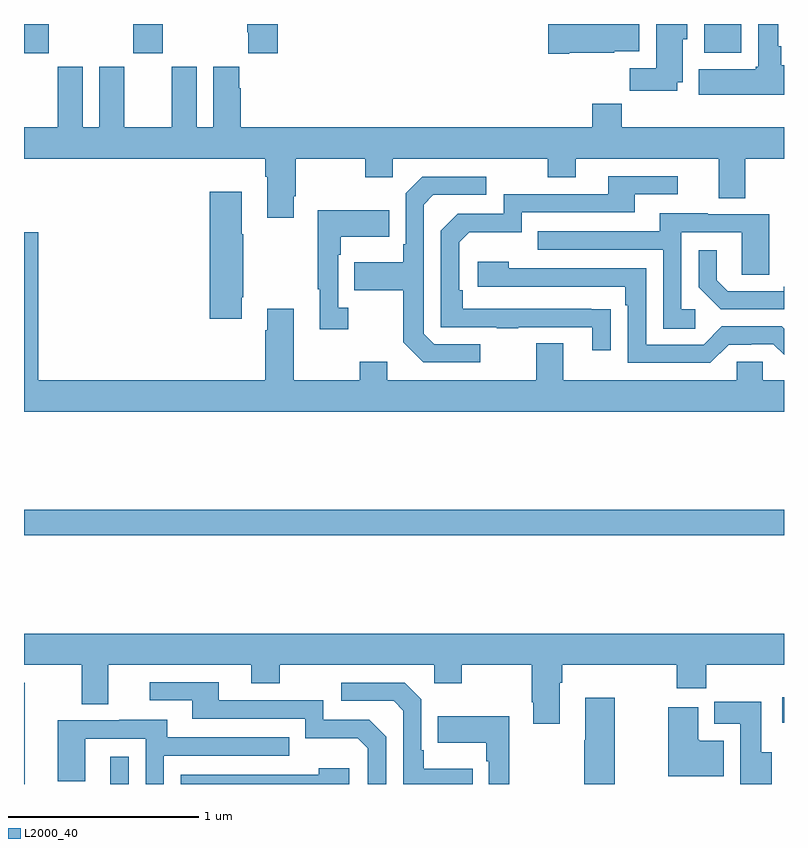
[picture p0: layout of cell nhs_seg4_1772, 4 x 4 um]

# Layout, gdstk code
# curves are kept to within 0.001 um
import gdstk
lib = gdstk.Library(unit=1e-6, precision=1e-09)
def R(c, l, rs):  # rectangles x0, y0, x1, y1
    for r in rs: c.add(gdstk.rectangle(r[:2], r[2:], *l))
def P(c, l, *ps):  # polygons
    for p in ps: c.add(gdstk.Polygon(p, *l))
L2000_40 = (2000, 40)

nhs_seg4_1772 = lib.new_cell('nhs_seg4_1772')
R(nhs_seg4_1772, L2000_40, [(203,754.9,203.005,755.433), (203.453,754.9,203.55,755.044), (206.991,755.222,207,755.356), (203,756.208,207,756.344), (203,758.745,203.13,758.9), (203.575,758.745,203.73,758.9), (206.579,758.75,206.776,758.9)])
P(nhs_seg4_1772, L2000_40, [(207,758.682),(206.986,758.682),(206.986,758.782),(206.971,758.782),(206.971,758.9),(206.864,758.9),(206.864,758.676),(206.851,758.676),(206.851,758.662),(206.552,758.662),(206.552,758.528),(207,758.528)],
  [(206.437,758.594),(206.467,758.594),(206.467,758.82),(206.491,758.82),(206.491,758.9),(206.327,758.9),(206.327,758.668),(206.188,758.668),(206.188,758.55),(206.437,758.55)],
  [(205.87,758.75),(206.106,758.75),(206.106,758.756),(206.239,758.756),(206.239,758.9),(205.758,758.9),(205.758,758.743),(205.87,758.743)],
  [(204.335,758.9),(204.175,758.9),(204.175,758.857),(204.179,758.857),(204.179,758.745),(204.335,758.745)],
  [(204.421,757.993),(204.429,757.993),(204.429,758.192),(204.796,758.192),(204.796,758.093),(204.942,758.093),(204.942,758.192),(205.756,758.192),(205.756,758.093),(205.903,758.093),(205.903,758.192),(206.657,758.192),(206.657,757.984),(206.797,757.984),(206.797,758.192),(207,758.192),(207,758.356),(206.147,758.356),(206.147,758.48),(205.991,758.48),(205.991,758.356),(204.14,758.356),(204.14,758.561),(204.133,758.561),(204.133,758.674),(203.996,758.674),(203.996,758.356),(203.908,758.356),(203.908,758.674),(203.777,758.674),(203.777,758.356),(203.527,758.356),(203.527,758.674),(203.396,758.674),(203.396,758.356),(203.308,758.356),(203.308,758.674),(203.177,758.674),(203.177,758.356),(203,758.356),(203,758.192),(204.269,758.192),(204.269,758.096),(204.281,758.096),(204.281,757.881),(204.421,757.881)],
  [(206.087,757.4),(205.31,757.401),(205.31,757.498),(205.29,757.498),(205.29,757.752),(205.343,757.805),(205.62,757.805),(205.62,757.908),(206.215,757.908),(206.215,758.004),(206.44,758.004),(206.44,758.1),(206.075,758.1),(206.075,758.004),(205.524,758.004),(205.524,757.902),(205.284,757.902),(205.194,757.812),(205.194,757.305),(205.489,757.305),(205.489,757.3),(205.601,757.3),(205.601,757.305),(205.991,757.305),(205.991,757.182),(206.087,757.182)],
  [(205.402,757.215),(205.158,757.215),(205.104,757.269),(205.104,757.95),(205.155,758.001),(205.432,758.001),(205.432,758.097),(205.095,758.097),(205.008,758.01),(205.008,757.741),(204.996,757.741),(204.996,757.645),(204.739,757.645),(204.739,757.498),(204.996,757.498),(204.996,757.225),(205.101,757.119),(205.402,757.119)],
  [(204.145,757.462),(204.153,757.462),(204.153,757.793),(204.145,757.793),(204.145,758.017),(203.978,758.017),(203.978,757.35),(204.145,757.35)],
  [(204.706,757.406),(204.654,757.406),(204.654,757.685),(204.667,757.685),(204.667,757.781),(204.923,757.781),(204.923,757.921),(204.546,757.921),(204.546,757.505),(204.557,757.505),(204.557,757.293),(204.706,757.293)],
  [(206.533,757.398),(206.46,757.398),(206.46,757.803),(206.778,757.803),(206.778,757.579),(206.923,757.579),(206.923,757.899),(206.599,757.899),(206.599,757.903),(206.345,757.903),(206.345,757.809),(205.705,757.809),(205.705,757.713),(206.364,757.713),(206.364,757.297),(206.533,757.297)],
  [(207,757.024),(206.889,757.024),(206.889,757.122),(206.751,757.122),(206.751,757.024),(205.837,757.024),(205.837,757.219),(205.697,757.219),(205.697,757.024),(204.913,757.024),(204.913,757.123),(204.766,757.123),(204.766,757.024),(204.421,757.024),(204.421,757.402),(204.281,757.402),(204.281,757.289),(204.269,757.289),(204.269,757.024),(203.075,757.024),(203.075,757.804),(203,757.804),(203,756.86),(207,756.86)],
  [(207,757.517),(206.999,757.517),(206.999,757.494),(206.704,757.494),(206.647,757.551),(206.647,757.708),(206.55,757.708),(206.55,757.514),(206.666,757.398),(207,757.398)],
  [(206.709,757.212),(206.828,757.212),(206.828,757.215),(206.943,757.215),(207,757.158),(207,757.296),(206.988,757.308),(206.673,757.308),(206.577,757.212),(206.274,757.212),(206.274,757.614),(205.55,757.614),(205.55,757.648),(205.389,757.648),(205.389,757.518),(206.165,757.518),(206.165,757.421),(206.178,757.421),(206.178,757.116),(206.613,757.116)],
  [(205.819,755.432),(205.832,755.432),(205.832,755.528),(206.435,755.528),(206.435,755.404),(206.591,755.404),(206.591,755.528),(207,755.528),(207,755.692),(203,755.692),(203,755.528),(203.303,755.528),(203.303,755.32),(203.443,755.32),(203.443,755.528),(204.197,755.528),(204.197,755.429),(204.345,755.429),(204.345,755.528),(205.158,755.528),(205.158,755.429),(205.305,755.429),(205.305,755.528),(205.672,755.528),(205.672,755.329),(205.679,755.329),(205.679,755.217),(205.819,755.217)],
  [(204.906,755.148),(204.816,755.238),(204.576,755.238),(204.576,755.34),(204.025,755.34),(204.025,755.436),(203.661,755.436),(203.661,755.34),(203.885,755.34),(203.885,755.244),(204.48,755.244),(204.48,755.141),(204.757,755.141),(204.81,755.088),(204.81,754.9),(204.906,754.9)],
  [(205.361,754.981),(205.105,754.981),(205.105,755.077),(205.092,755.077),(205.092,755.346),(205.005,755.433),(204.669,755.433),(204.669,755.337),(204.945,755.337),(204.996,755.286),(204.996,754.9),(205.361,754.9)],
  [(206.11,755.353),(205.955,755.353),(205.955,755.129),(205.948,755.129),(205.948,754.9),(206.11,754.9)],
  [(206.935,755.068),(206.881,755.068),(206.881,755.334),(206.633,755.334),(206.633,755.216),(206.771,755.216),(206.771,754.9),(206.935,754.9)],
  [(206.683,755.128),(206.554,755.128),(206.554,755.134),(206.548,755.134),(206.548,755.305),(206.39,755.305),(206.39,754.94),(206.683,754.94)],
  [(205.555,755.257),(205.177,755.257),(205.177,755.117),(205.434,755.117),(205.434,755.021),(205.446,755.021),(205.446,754.9),(205.555,754.9)],
  [(203.736,755.049),(204.395,755.049),(204.395,755.145),(203.755,755.145),(203.755,755.239),(203.501,755.239),(203.501,755.235),(203.177,755.235),(203.177,754.915),(203.322,754.915),(203.322,755.139),(203.64,755.139),(203.64,754.9),(203.736,754.9)],
  [(204.712,754.984),(204.551,754.984),(204.551,754.95),(203.826,754.95),(203.826,754.9),(204.712,754.9)])

lib.write_gds('nhs_seg4_1772.gds')
